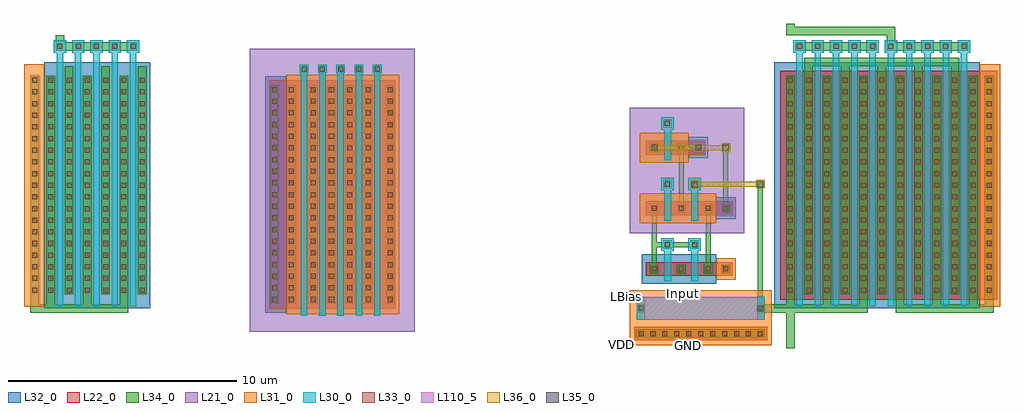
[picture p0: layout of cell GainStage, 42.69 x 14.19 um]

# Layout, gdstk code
from math import pi, radians
import gdstk
lib = gdstk.Library(unit=1e-6, precision=1e-09)
def R(c, l, rs):  # rectangles x0, y0, x1, y1
    for r in rs: c.add(gdstk.rectangle(r[:2], r[2:], *l))
def A(c, l, x, y, w, h, nx, ny, dx, dy):  # array of equal rectangles
    R(c, l, [(x+i*dx, y+j*dy, x+i*dx+w, y+j*dy+h) for i in range(nx) for j in range(ny)])
def P(c, l, *ps):  # polygons
    for p in ps: c.add(gdstk.Polygon(p, *l))
L21_0 = (21, 0)
L22_0 = (22, 0)
L30_0 = (30, 0)
L31_0 = (31, 0)
L32_0 = (32, 0)
L33_0 = (33, 0)
L34_0 = (34, 0)
L35_0 = (35, 0)
L36_0 = (36, 0)
L110_5 = (110, 5)

pfet = lib.new_cell('pfet')
R(pfet, L21_0, [(-1.32,-0.99,5.91,11.37)])
R(pfet, L22_0, [(-0.46,0,5.05,10)])
P(pfet, L30_0, [(0.19,-0.3),(0.19,10.3),(0.14,10.3),(0.14,10.68),(0.52,10.68),(0.52,10.3),(0.47,10.3),(0.47,-0.3)],
  [(0.99,-0.3),(0.99,10.3),(0.94,10.3),(0.94,10.68),(1.32,10.68),(1.32,10.3),(1.27,10.3),(1.27,-0.3)],
  [(1.79,-0.3),(1.79,10.3),(1.74,10.3),(1.74,10.68),(2.12,10.68),(2.12,10.3),(2.07,10.3),(2.07,-0.3)],
  [(2.59,-0.3),(2.59,10.3),(2.54,10.3),(2.54,10.68),(2.92,10.68),(2.92,10.3),(2.87,10.3),(2.87,-0.3)],
  [(3.39,-0.3),(3.39,10.3),(3.34,10.3),(3.34,10.68),(3.72,10.68),(3.72,10.3),(3.67,10.3),(3.67,-0.3)])
R(pfet, L31_0, [(-0.63,-0.24,4.32,10.24)])
R(pfet, L32_0, [(4.32,-0.17,5.22,10.17)])
A(pfet, L33_0, -0.34, 0.3, 0.22, 0.22, 1, 19, 0, 0.51)
A(pfet, L33_0, 0.62, 0.3, 0.22, 0.22, 4, 19, 0.8, 0.51)
A(pfet, L33_0, 3.98, 0.3, 0.22, 0.22, 1, 19, 0, 0.51)
A(pfet, L33_0, 4.71, 0.3, 0.22, 0.22, 1, 19, 0, 0.51)
A(pfet, L33_0, 0.22, 10.38, 0.22, 0.22, 5, 1, 0.8, 0)
A(pfet, L34_0, 0.54, 0.22, 0.38, 9.56, 4, 1, 0.8, 0)
A(pfet, L34_0, 0.14, 10.3, 0.38, 0.38, 5, 1, 0.8, 0)
R(pfet, L34_0, [(-0.42,0.22,-0.04,9.78), (3.9,0.22,4.28,9.78), (4.63,0.22,5.01,9.78)])

gainstage = lib.new_cell('GainStage')
R(gainstage, L21_0, [(-2.25,4.89,2.75,10.39)])
R(gainstage, L22_0, [(-2.06,0.21,3.76,0.81), (4.32,2,13.82,12), (-1.55,3.04,2.25,3.64), (-1.55,5.69,2.25,6.29), (-1.55,8.34,1.05,8.94)])
A(gainstage, L30_0, -27.32, 1.7, 0.28, 11.1, 5, 1, 0.8, 0)
A(gainstage, L30_0, 5.03, 1.7, 0.28, 11.1, 10, 1, 0.8, 0)
A(gainstage, L30_0, -0.75, 2.79, 0.3, 1.34, 1, 3, 0, 2.65)
A(gainstage, L30_0, -0.88, 4.13, 0.54, 0.54, 1, 3, 0, 2.65)
A(gainstage, L30_0, -27.45, 12.8, 0.54, 0.54, 5, 1, 0.8, 0)
A(gainstage, L30_0, 4.9, 12.8, 0.54, 0.54, 10, 1, 0.8, 0)
R(gainstage, L30_0, [(-1.95,1.11,3.65,2.11), (0.44,2.79,0.74,4.13), (0.31,4.13,0.85,4.67), (0.44,5.44,0.74,6.78), (0.31,6.78,0.85,7.32)])
R(gainstage, L31_0, [(-2.25,0.01,3.95,2.41), (-28.75,1.69,-27.87,12.3), (13.06,1.69,13.94,12.3), (1.525,2.865,2.38,3.815), (-1.82,5.34,1.53,6.64), (-1.825,7.99,0.325,9.29)])
R(gainstage, L32_0, [(-27.87,1.625,-23.22,12.375), (4.06,1.625,13.06,12.375), (-1.725,2.69,1.525,3.99), (1.53,5.52,2.385,6.47), (0.325,8.17,1.18,9.12)])
A(gainstage, L33_0, -1.87, 0.4, 0.22, 0.22, 11, 1, 0.522, 0)
A(gainstage, L33_0, -28.39, 2.3, 0.22, 0.22, 1, 19, 0, 0.51)
A(gainstage, L33_0, -27.69, 2.3, 0.22, 0.22, 6, 19, 0.8, 0.51)
A(gainstage, L33_0, 4.66, 2.3, 0.22, 0.22, 11, 19, 0.8, 0.51)
A(gainstage, L33_0, 13.36, 2.3, 0.22, 0.22, 1, 19, 0, 0.51)
A(gainstage, L33_0, -1.3, 3.23, 0.22, 0.22, 1, 3, 0, 2.65)
A(gainstage, L33_0, -0.11, 3.23, 0.22, 0.22, 1, 3, 0, 2.65)
A(gainstage, L33_0, -0.72, 4.29, 0.22, 0.22, 1, 3, 0, 2.65)
A(gainstage, L33_0, -27.29, 12.96, 0.22, 0.22, 5, 1, 0.8, 0)
A(gainstage, L33_0, 5.06, 12.96, 0.22, 0.22, 10, 1, 0.8, 0)
R(gainstage, L33_0, [(-1.87,1.5,-1.65,1.72), (3.35,1.5,3.57,1.72), (1.07,3.23,1.29,3.45), (1.84,3.23,2.06,3.45), (0.47,4.29,0.69,4.51), (1.07,5.88,1.29,6.1), (1.84,5.88,2.06,6.1), (0.47,6.94,0.69,7.16), (0.64,8.53,0.86,8.75)])
A(gainstage, L34_0, -27.77, 1.8, 0.38, 0.42, 3, 1, 1.6, 0)
A(gainstage, L34_0, 4.58, 1.8, 0.38, 0.42, 6, 1, 1.6, 0)
A(gainstage, L34_0, -27.77, 2.22, 0.38, 9.56, 6, 1, 0.8, 0)
A(gainstage, L34_0, 4.58, 2.22, 0.38, 9.56, 11, 1, 0.8, 0)
A(gainstage, L34_0, -1.38, 3.15, 0.38, 0.38, 1, 3, 0, 2.65)
A(gainstage, L34_0, -0.19, 3.15, 0.38, 0.38, 1, 3, 0, 2.65)
A(gainstage, L34_0, 1.76, 3.15, 0.38, 0.38, 1, 3, 0, 2.65)
A(gainstage, L34_0, -0.8, 4.21, 0.38, 0.38, 1, 3, 0, 2.65)
A(gainstage, L34_0, -26.97, 11.78, 0.38, 0.42, 3, 1, 1.6, 0)
A(gainstage, L34_0, 5.38, 11.78, 0.38, 0.42, 5, 1, 1.6, 0)
A(gainstage, L34_0, -27.37, 12.88, 0.38, 0.38, 5, 1, 0.8, 0)
A(gainstage, L34_0, 4.98, 12.88, 0.38, 0.38, 10, 1, 0.8, 0)
R(gainstage, L34_0, [(4.58,-0.13,4.96,1.42), (-1.96,0.33,3.66,0.69), (-28.47,1.42,-24.19,1.8), (-1.95,1.42,-1.57,1.8), (3.27,1.42,3.65,1.8), (3.65,1.42,8.16,1.8), (9.38,1.42,13.66,1.8), (3.35,1.5,3.57,7.16), (-28.47,1.8,-28.09,2.22), (13.28,1.8,13.66,2.22), (-28.47,2.22,-28.09,11.78), (13.28,2.22,13.66,11.78), (0.99,3.15,1.37,3.53), (-1.3,3.53,-1.08,5.8), (1.07,3.53,1.29,5.8), (0.39,4.21,0.77,4.59), (-1.3,4.29,-0.8,4.51), (-0.42,4.29,0.39,4.51), (0.99,5.8,1.37,6.18), (-0.11,6.18,0.11,8.45), (1.84,6.18,2.06,8.45), (0.39,6.86,0.77,7.24), (3.27,6.86,3.65,7.24), (0.56,8.45,0.94,8.83), (5.38,12.2,12.16,12.58), (-27.37,12.88,-23.79,13.26), (4.98,12.88,8.56,13.26), (8.98,12.88,12.56,13.26), (-27.37,13.26,-26.99,13.56), (8.98,13.26,9.36,13.56), (4.58,13.56,4.96,14.06), (4.96,13.56,9.36,13.94)])
R(gainstage, L35_0, [(3.33,1.48,3.59,1.74), (1.82,5.86,2.08,6.12), (0.45,6.92,0.71,7.18), (3.33,6.92,3.59,7.18), (-1.32,8.51,-1.06,8.77), (0.62,8.51,0.88,8.77), (1.82,8.51,2.08,8.77)])
R(gainstage, L36_0, [(0.39,6.86,0.77,7.24), (3.27,6.86,3.65,7.24), (0.47,6.94,3.57,7.16), (-1.38,8.45,-1,8.83), (0.56,8.45,0.94,8.83), (1.76,8.45,2.14,8.83), (-1.3,8.53,2.06,8.75)])
R(gainstage, L110_5, [(-1.65,1.11,3.35,2.11)])
r = gdstk.Reference(pfet, (-12.97,1.59), rotation=pi, x_reflection=True); r.repetition = gdstk.Repetition(1, 1, v1=(0,0), v2=(0,0)); gainstage.add(r)
gainstage.add(gdstk.Label('Output', (-0.404,-1.912), layer=34, texttype=10))
gainstage.add(gdstk.Label('VDD', (-2.598,0.036), layer=34, texttype=10))
gainstage.add(gdstk.Label('Input', (0.092,2.28), layer=34, texttype=10))
gainstage.add(gdstk.Label('CBias', (-0.09,2.28), layer=34, texttype=10))
gainstage.add(gdstk.Label('GND', (0.295,0), layer=34, texttype=10))
gainstage.add(gdstk.Label('LBias', (-2.413,2.134), layer=34, texttype=10))

lib.write_gds('GainStage.gds')
